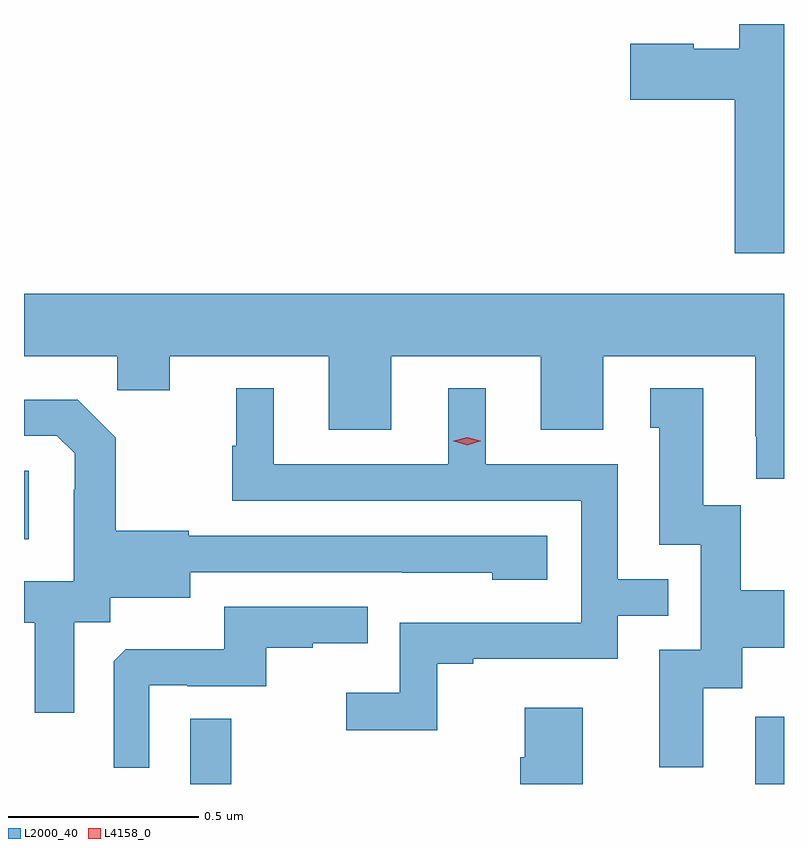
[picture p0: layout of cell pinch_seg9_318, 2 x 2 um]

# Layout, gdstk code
import gdstk
lib = gdstk.Library(unit=1e-6, precision=1e-09)
def R(c, l, rs):  # rectangles x0, y0, x1, y1
    for r in rs: c.add(gdstk.rectangle(r[:2], r[2:], *l))
def P(c, l, *ps):  # polygons
    for p in ps: c.add(gdstk.Polygon(p, *l))
L2000_40 = (2000, 40)
L4158_0 = (4158, 0)

pinch_seg9_318 = lib.new_cell('pinch_seg9_318')
R(pinch_seg9_318, L2000_40, [(575.544,1187.302,575.653,1187.474), (577.031,1187.302,577.107,1187.479), (575.107,1187.946,575.119,1188.126)])
P(pinch_seg9_318, L2000_40, [(577.107,1189.302),(576.989,1189.302),(576.989,1189.237),(576.869,1189.237),(576.869,1189.25),(576.702,1189.25),(576.702,1189.103),(576.977,1189.103),(576.977,1188.699),(577.107,1188.699)],
  [(577.107,1188.592),(575.107,1188.592),(575.107,1188.428),(575.353,1188.428),(575.353,1188.338),(575.491,1188.338),(575.491,1188.428),(575.909,1188.428),(575.909,1188.234),(576.073,1188.234),(576.073,1188.428),(576.467,1188.428),(576.467,1188.234),(576.631,1188.234),(576.631,1188.428),(577.031,1188.428),(577.031,1188.217),(577.034,1188.217),(577.034,1188.105),(577.107,1188.105)],
  [(576.195,1187.619),(576.289,1187.619),(576.289,1187.631),(576.669,1187.631),(576.669,1187.745),(576.803,1187.745),(576.803,1187.841),(576.669,1187.841),(576.669,1188.144),(576.322,1188.144),(576.322,1188.343),(576.224,1188.343),(576.224,1188.144),(575.764,1188.144),(575.764,1188.343),(575.666,1188.343),(575.666,1188.192),(575.655,1188.192),(575.655,1188.048),(576.573,1188.048),(576.573,1187.727),(576.096,1187.727),(576.096,1187.542),(575.955,1187.542),(575.955,1187.444),(576.195,1187.444)],
  [(576.895,1187.554),(576.997,1187.554),(576.997,1187.66),(577.107,1187.66),(577.107,1187.812),(576.993,1187.812),(576.993,1188.035),(576.895,1188.035),(576.895,1188.343),(576.755,1188.343),(576.755,1188.24),(576.779,1188.24),(576.779,1187.931),(576.888,1187.931),(576.888,1187.655),(576.779,1187.655),(576.779,1187.346),(576.895,1187.346)],
  [(575.239,1187.728),(575.334,1187.728),(575.334,1187.792),(575.545,1187.792),(575.545,1187.859),(576.103,1187.859),(576.103,1187.858),(576.339,1187.858),(576.339,1187.84),(576.484,1187.84),(576.484,1187.955),(575.541,1187.955),(575.541,1187.968),(575.349,1187.968),(575.349,1188.213),(575.249,1188.313),(575.107,1188.313),(575.107,1188.219),(575.193,1188.219),(575.24,1188.172),(575.24,1188.077),(575.238,1188.077),(575.238,1187.836),(575.107,1187.836),(575.107,1187.726),(575.135,1187.726),(575.135,1187.49),(575.239,1187.49)],
  [(575.436,1187.562),(575.536,1187.562),(575.536,1187.559),(575.744,1187.559),(575.744,1187.661),(575.867,1187.661),(575.867,1187.672),(576.011,1187.672),(576.011,1187.769),(575.634,1187.769),(575.634,1187.657),(575.375,1187.657),(575.343,1187.625),(575.343,1187.345),(575.436,1187.345)],
  [(576.577,1187.503),(576.425,1187.503),(576.425,1187.373),(576.413,1187.373),(576.413,1187.302),(576.577,1187.302)])
P(pinch_seg9_318, L4158_0, [(576.273,1188.194),(576.238,1188.204),(576.237,1188.204),(576.238,1188.205),(576.273,1188.214),(576.308,1188.205),(576.309,1188.204),(576.308,1188.204)])

lib.write_gds('pinch_seg9_318.gds')
